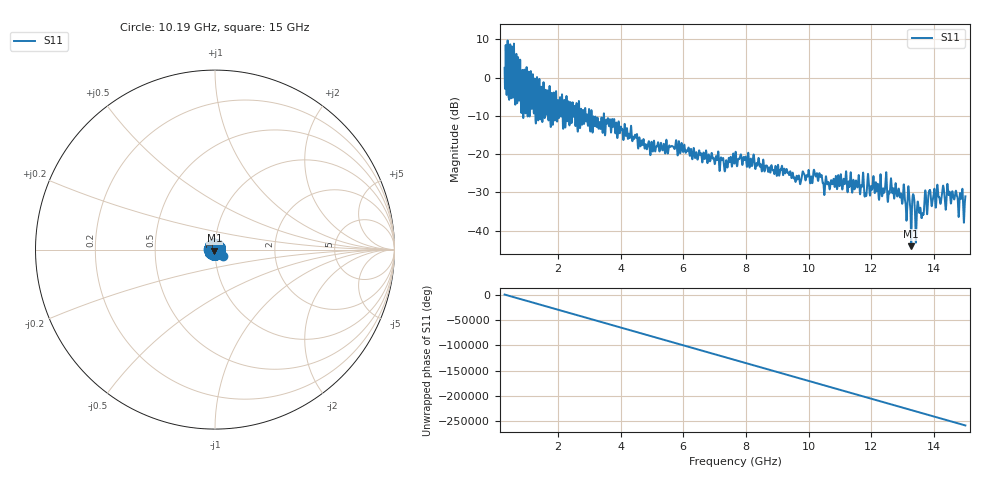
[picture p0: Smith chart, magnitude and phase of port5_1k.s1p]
# GHZ S RI R 50.0
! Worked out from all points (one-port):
!   12801 points, 300 MHz to 15 GHz, reference 50 ohm
!   lowest |S11| = -44.1 dB at 13.27 GHz (marker M1), VSWR 1.01, Z = 49.7 - j0.557 ohm
!   |S11| at or under -10 dB: 3.004 GHz to 3.06 GHz (55.64 MHz wide, 1.83 % of centre); 3.078 GHz to 3.46 GHz (382.3 MHz wide, 11.7 % of centre); 3.473 GHz to end of sweep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
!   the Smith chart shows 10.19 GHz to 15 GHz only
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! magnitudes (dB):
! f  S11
! 300 MHz  2.6
! 494.1 MHz  -2.5
! 538.9 MHz  1.8
! 696.2 MHz  -6.3
! 737.6 MHz  1.2
! 900.6 MHz  -10.2
! 1.197 GHz  -0.1
! 1.311 GHz  -10.3
! 1.602 GHz  -4.7
! 1.83 GHz  -11.8
! 2.138 GHz  -5.5
! 3.975 GHz  -14.5
! 4.896 GHz  -16.7
! 5.812 GHz  -20.1
! 7.359 GHz  -22.0
! 7.65 GHz  -21.2
! 9.488 GHz  -24.8
! 10.21 GHz  -25.5
! 10.52 GHz  -28.5
! 11.32 GHz  -26.4
! 12.29 GHz  -25.2
! 12.43 GHz  -29.3
! 13.16 GHz  -30.6
! 13.27 GHz  -44.1
! 13.6 GHz  -36.7
! 13.78 GHz  -35.7
! 14.28 GHz  -28.5
! 15 GHz  -31.0
